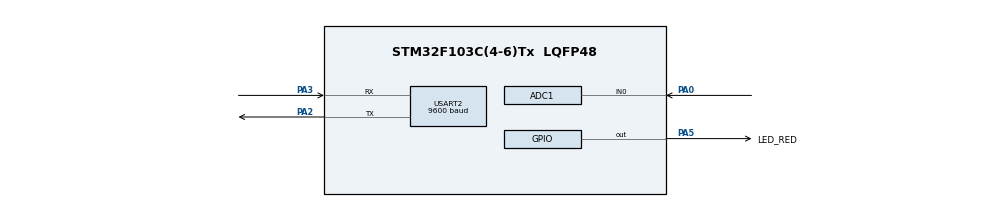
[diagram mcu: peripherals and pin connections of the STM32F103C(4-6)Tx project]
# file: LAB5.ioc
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ADC1.Channel-0\#ChannelRegularConversion=ADC_CHANNEL_0
ADC1.ContinuousConvMode=ENABLE
ADC1.NbrOfConversionFlag=1
ADC1.Rank-0\#ChannelRegularConversion=1
ADC1.SamplingTime-0\#ChannelRegularConversion=ADC_SAMPLETIME_1CYCLE_5
ADC1.master=1
Mcu.Family=STM32F1
Mcu.Name=STM32F103C(4-6)Tx
Mcu.Package=LQFP48
NVIC.PriorityGroup=NVIC_PRIORITYGROUP_4
NVIC.TIM2_IRQn=true\:0\:0\:false\:false\:true\:true\:true
NVIC.USART2_IRQn=true\:0\:0\:false\:false\:true\:true\:true
PA0-WKUP.Signal=ADCx_IN0
PA2.Mode=Asynchronous
PA2.Signal=USART2_TX
PA3.Mode=Asynchronous
PA3.Signal=USART2_RX
PA5.GPIO_Label=LED_RED
PA5.Signal=GPIO_Output
ProjectManager.HeapSize=0x200
ProjectManager.StackSize=0x400
ProjectManager.TargetToolchain=STM32CubeIDE
RCC.APB1Freq_Value=8000000
RCC.APB2Freq_Value=8000000
SH.ADCx_IN0.0=ADC1_IN0,IN0
TIM2.Period=9
TIM2.Prescaler=7999
USART2.BaudRate=9600
USART2.VirtualMode=VM_ASYNC
VP_SYS_VS_ND.Mode=No_Debug
VP_TIM2_VS_ClockSourceINT.Mode=Internal
board=custom

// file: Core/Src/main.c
/* USER CODE BEGIN Header */
/**
  ******************************************************************************
  * @file           : main.c
  * @brief          : Main program body
  ******************************************************************************
  * @attention
  *
  * <h2><center>&copy; Copyright (c) 2024 STMicroelectronics.
  * All rights reserved.</center></h2>
  *
  * This software component is licensed by ST under BSD 3-Clause license,
  * the "License"; You may not use this file except in compliance with the
  * License. You may obtain a copy of the License at:
  *                        opensource.org/licenses/BSD-3-Clause
  *
  ******************************************************************************
  */
/* USER CODE END Header */
#include "main.h"

/* USER CODE BEGIN Includes */
#include "software_timer.h"
#include "fsm.h"

/* USER CODE END Includes */

ADC_HandleTypeDef hadc1;

TIM_HandleTypeDef htim2;

UART_HandleTypeDef huart2;

void SystemClock_Config(void);
static void MX_GPIO_Init(void);
static void MX_ADC1_Init(void);
static void MX_USART2_UART_Init(void);
static void MX_TIM2_Init(void);

/* USER CODE BEGIN 0 */
void HAL_UART_RxCpltCallback (UART_HandleTypeDef *huart){
	if(huart->Instance == USART2){
		HAL_UART_Transmit(&huart2, &temp, 1, 500);
		buffer[index_buffer++] = temp;
		if(index_buffer == MAX_BUFFER_SIZE) index_buffer = 0;
		buffer_flag = 1;
		HAL_UART_Receive_IT(&huart2, &temp, 1);
	}
}

/* USER CODE END 0 */

int main(void)
{

  /* MCU Configuration--------------------------------------------------------*/

  /* Reset of all peripherals, Initializes the Flash interface and the Systick. */
  HAL_Init();

  /* Configure the system clock */
  SystemClock_Config();

  /* Initialize all configured peripherals */
  MX_GPIO_Init();
  MX_ADC1_Init();
  MX_USART2_UART_Init();
  MX_TIM2_Init();
  /* USER CODE BEGIN 2 */
  HAL_TIM_Base_Start_IT(&htim2);
  HAL_UART_Receive_IT(&huart2, &temp, 1);
  HAL_ADC_Start(&hadc1);
  /* USER CODE END 2 */

  /* Infinite loop */
  /* USER CODE BEGIN WHILE */
  setTimer2(500);
  while (1)
  {
	  if(timer2_flag == 1){
		  HAL_GPIO_TogglePin(LED_RED_GPIO_Port, LED_RED_Pin);
		  setTimer2(500);
	  }
	  if(buffer_flag == 1){
		  command_parser_fsm();
		  buffer_flag = 0;
	  }
	  uart_communiation_fsm();
    /* USER CODE END WHILE */

  }
}

void SystemClock_Config(void)
{
  RCC_OscInitTypeDef RCC_OscInitStruct = {0};
  RCC_ClkInitTypeDef RCC_ClkInitStruct = {0};
  RCC_PeriphCLKInitTypeDef PeriphClkInit = {0};

  /** Initializes the RCC Oscillators according to the specified parameters
  * in the RCC_OscInitTypeDef structure.
  */
  RCC_OscInitStruct.OscillatorType = RCC_OSCILLATORTYPE_HSI;
  RCC_OscInitStruct.HSIState = RCC_HSI_ON;
  RCC_OscInitStruct.HSICalibrationValue = RCC_HSICALIBRATION_DEFAULT;
  RCC_OscInitStruct.PLL.PLLState = RCC_PLL_NONE;
  if (HAL_RCC_OscConfig(&RCC_OscInitStruct) != HAL_OK)
  {
    Error_Handler();
  }
  /** Initializes the CPU, AHB and APB buses clocks
  */
  RCC_ClkInitStruct.ClockType = RCC_CLOCKTYPE_HCLK|RCC_CLOCKTYPE_SYSCLK
                              |RCC_CLOCKTYPE_PCLK1|RCC_CLOCKTYPE_PCLK2;
  RCC_ClkInitStruct.SYSCLKSource = RCC_SYSCLKSOURCE_HSI;
  RCC_ClkInitStruct.AHBCLKDivider = RCC_SYSCLK_DIV1;
  RCC_ClkInitStruct.APB1CLKDivider = RCC_HCLK_DIV1;
  RCC_ClkInitStruct.APB2CLKDivider = RCC_HCLK_DIV1;

  if (HAL_RCC_ClockConfig(&RCC_ClkInitStruct, FLASH_LATENCY_0) != HAL_OK)
  {
    Error_Handler();
  }
  PeriphClkInit.PeriphClockSelection = RCC_PERIPHCLK_ADC;
  PeriphClkInit.AdcClockSelection = RCC_ADCPCLK2_DIV2;
  if (HAL_RCCEx_PeriphCLKConfig(&PeriphClkInit) != HAL_OK)
  {
    Error_Handler();
  }
}

static void MX_ADC1_Init(void)
{

  ADC_ChannelConfTypeDef sConfig = {0};

  /** Common config
  */
  hadc1.Instance = ADC1;
  hadc1.Init.ScanConvMode = ADC_SCAN_DISABLE;
  hadc1.Init.ContinuousConvMode = ENABLE;
  hadc1.Init.DiscontinuousConvMode = DISABLE;
  hadc1.Init.ExternalTrigConv = ADC_SOFTWARE_START;
  hadc1.Init.DataAlign = ADC_DATAALIGN_RIGHT;
  hadc1.Init.NbrOfConversion = 1;
  if (HAL_ADC_Init(&hadc1) != HAL_OK)
  {
    Error_Handler();
  }
  /** Configure Regular Channel
  */
  sConfig.Channel = ADC_CHANNEL_0;
  sConfig.Rank = ADC_REGULAR_RANK_1;
  sConfig.SamplingTime = ADC_SAMPLETIME_1CYCLE_5;
  if (HAL_ADC_ConfigChannel(&hadc1, &sConfig) != HAL_OK)
  {
    Error_Handler();
  }

}

static void MX_TIM2_Init(void)
{

  TIM_ClockConfigTypeDef sClockSourceConfig = {0};
  TIM_MasterConfigTypeDef sMasterConfig = {0};

  htim2.Instance = TIM2;
  htim2.Init.Prescaler = 7999;
  htim2.Init.CounterMode = TIM_COUNTERMODE_UP;
  htim2.Init.Period = 9;
  htim2.Init.ClockDivision = TIM_CLOCKDIVISION_DIV1;
  htim2.Init.AutoReloadPreload = TIM_AUTORELOAD_PRELOAD_DISABLE;
  if (HAL_TIM_Base_Init(&htim2) != HAL_OK)
  {
    Error_Handler();
  }
  sClockSourceConfig.ClockSource = TIM_CLOCKSOURCE_INTERNAL;
  if (HAL_TIM_ConfigClockSource(&htim2, &sClockSourceConfig) != HAL_OK)
  {
    Error_Handler();
  }
  sMasterConfig.MasterOutputTrigger = TIM_TRGO_RESET;
  sMasterConfig.MasterSlaveMode = TIM_MASTERSLAVEMODE_DISABLE;
  if (HAL_TIMEx_MasterConfigSynchronization(&htim2, &sMasterConfig) != HAL_OK)
  {
    Error_Handler();
  }

}

static void MX_USART2_UART_Init(void)
{

  huart2.Instance = USART2;
  huart2.Init.BaudRate = 9600;
  huart2.Init.WordLength = UART_WORDLENGTH_8B;
  huart2.Init.StopBits = UART_STOPBITS_1;
  huart2.Init.Parity = UART_PARITY_NONE;
  huart2.Init.Mode = UART_MODE_TX_RX;
  huart2.Init.HwFlowCtl = UART_HWCONTROL_NONE;
  huart2.Init.OverSampling = UART_OVERSAMPLING_16;
  if (HAL_UART_Init(&huart2) != HAL_OK)
  {
    Error_Handler();
  }

}

static void MX_GPIO_Init(void)
{
  GPIO_InitTypeDef GPIO_InitStruct = {0};

  /* GPIO Ports Clock Enable */
  __HAL_RCC_GPIOA_CLK_ENABLE();

  /*Configure GPIO pin Output Level */
  HAL_GPIO_WritePin(LED_RED_GPIO_Port, LED_RED_Pin, GPIO_PIN_RESET);

  /*Configure GPIO pin : LED_RED_Pin */
  GPIO_InitStruct.Pin = LED_RED_Pin;
  GPIO_InitStruct.Mode = GPIO_MODE_OUTPUT_PP;
  GPIO_InitStruct.Pull = GPIO_NOPULL;
  GPIO_InitStruct.Speed = GPIO_SPEED_FREQ_LOW;
  HAL_GPIO_Init(LED_RED_GPIO_Port, &GPIO_InitStruct);

}

/* USER CODE BEGIN 4 */
void HAL_TIM_PeriodElapsedCallback(TIM_HandleTypeDef *htim){
	timerRun();
}
/* USER CODE END 4 */

void Error_Handler(void)
{
  __disable_irq();
  while (1)
  {
  }
}

/************************ (C) COPYRIGHT STMicroelectronics *****END OF FILE****/
